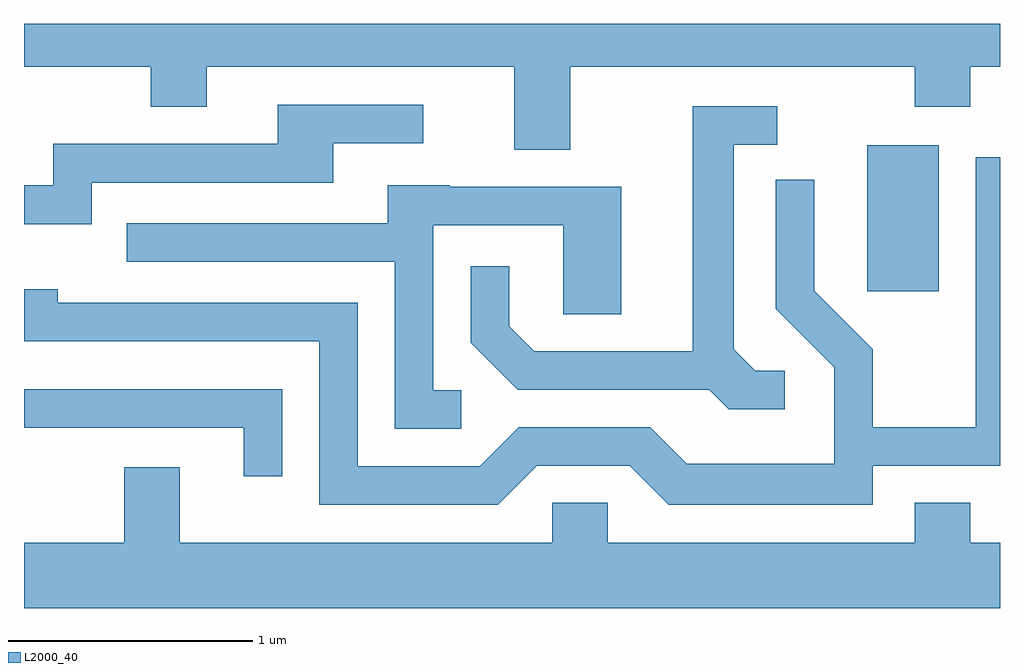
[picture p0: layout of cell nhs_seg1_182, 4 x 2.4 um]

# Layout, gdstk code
import gdstk
lib = gdstk.Library(unit=1e-6, precision=1e-09)
def R(c, l, rs):  # rectangles x0, y0, x1, y1
    for r in rs: c.add(gdstk.rectangle(r[:2], r[2:], *l))
def P(c, l, *ps):  # polygons
    for p in ps: c.add(gdstk.Polygon(p, *l))
L2000_40 = (2000, 40)

nhs_seg1_182 = lib.new_cell('nhs_seg1_182')
R(nhs_seg1_182, L2000_40, [(193.066,938.616,193.359,939.214)])
P(nhs_seg1_182, L2000_40, [(191.849,939.536),(193.261,939.536),(193.261,939.371),(193.489,939.371),(193.489,939.536),(193.611,939.536),(193.611,939.712),(189.611,939.712),(189.611,939.536),(190.131,939.536),(190.131,939.371),(190.359,939.371),(190.359,939.536),(191.621,939.536),(191.621,939.196),(191.849,939.196)],
  [(189.889,939.061),(190.879,939.061),(190.879,939.221),(191.248,939.221),(191.248,939.379),(190.651,939.379),(190.651,939.219),(189.731,939.219),(189.731,939.049),(189.611,939.049),(189.611,938.891),(189.889,938.891)],
  [(192.728,938.289),(192.607,938.289),(192.519,938.377),(192.519,939.216),(192.698,939.216),(192.698,939.374),(192.351,939.374),(192.351,938.369),(191.702,938.369),(191.599,938.472),(191.599,938.718),(191.441,938.718),(191.441,938.404),(191.634,938.211),(192.419,938.211),(192.499,938.131),(192.728,938.131)],
  [(191.712,937.901),(192.094,937.901),(192.254,937.741),(193.089,937.741),(193.089,937.901),(193.611,937.901),(193.611,939.164),(193.511,939.164),(193.511,938.059),(193.089,938.059),(193.089,938.377),(192.849,938.617),(192.849,939.073),(192.691,939.073),(192.691,938.544),(192.931,938.304),(192.931,937.909),(192.327,937.909),(192.177,938.059),(191.639,938.059),(191.479,937.899),(190.979,937.899),(190.979,938.569),(189.749,938.569),(189.749,938.624),(189.611,938.624),(189.611,938.411),(190.821,938.411),(190.821,937.741),(191.552,937.741)],
  [(191.403,938.209),(191.289,938.209),(191.289,938.886),(191.821,938.886),(191.821,938.521),(192.059,938.521),(192.059,939.044),(191.355,939.044),(191.355,939.049),(191.101,939.049),(191.101,938.894),(190.033,938.894),(190.033,938.736),(191.131,938.736),(191.131,938.051),(191.403,938.051)],
  [(190.669,938.214),(189.611,938.214),(189.611,938.056),(190.511,938.056),(190.511,937.858),(190.669,937.858)],
  [(193.611,937.584),(193.489,937.584),(193.489,937.749),(193.261,937.749),(193.261,937.584),(192.004,937.584),(192.004,937.749),(191.776,937.749),(191.776,937.584),(190.249,937.584),(190.249,937.894),(190.021,937.894),(190.021,937.584),(189.611,937.584),(189.611,937.316),(193.611,937.316)])

lib.write_gds('nhs_seg1_182.gds')
